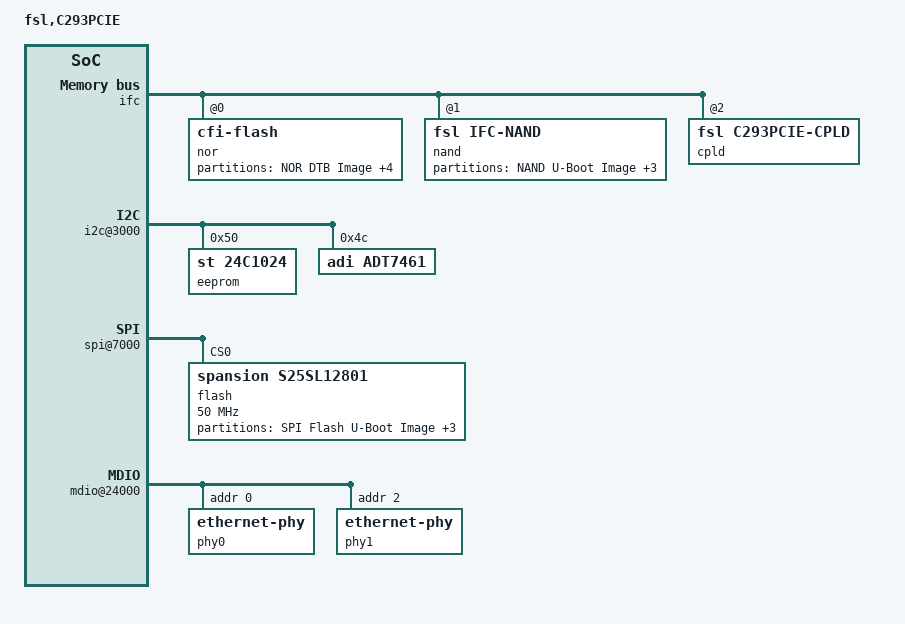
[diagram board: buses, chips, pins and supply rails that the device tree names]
/*
 * C293 PCIE Device Tree Source
 *
 * Copyright 2013 Freescale Semiconductor Inc.
 *
 * Redistribution and use in source and binary forms, with or without
 * modification, are permitted provided that the following conditions are met:
 *     * Redistributions of source code must retain the above copyright
 *       notice, this list of conditions and the following disclaimer.
 *     * Redistributions in binary form must reproduce the above copyright
 *       notice, this list of conditions and the following disclaimer in the
 *       documentation and/or other materials provided with the distribution.
 *     * Neither the name of Freescale Semiconductor nor the
 *       names of its contributors may be used to endorse or promote products
 *       derived from this software without specific prior written permission.
 *
 *
 * ALTERNATIVELY, this software may be distributed under the terms of the
 * GNU General Public License ("GPL") as published by the Free Software
 * Foundation, either version 2 of that License or (at your option) any
 * later version.
 *
 * THIS SOFTWARE IS PROVIDED BY Freescale Semiconductor "AS IS" AND ANY
 * EXPRESS OR IMPLIED WARRANTIES, INCLUDING, BUT NOT LIMITED TO, THE IMPLIED
 * WARRANTIES OF MERCHANTABILITY AND FITNESS FOR A PARTICULAR PURPOSE ARE
 * DISCLAIMED. IN NO EVENT SHALL Freescale Semiconductor BE LIABLE FOR ANY
 * DIRECT, INDIRECT, INCIDENTAL, SPECIAL, EXEMPLARY, OR CONSEQUENTIAL DAMAGES
 * (INCLUDING, BUT NOT LIMITED TO, PROCUREMENT OF SUBSTITUTE GOODS OR SERVICES;
 * LOSS OF USE, DATA, OR PROFITS; OR BUSINESS INTERRUPTION) HOWEVER CAUSED AND
 * ON ANY THEORY OF LIABILITY, WHETHER IN CONTRACT, STRICT LIABILITY, OR TORT
 * (INCLUDING NEGLIGENCE OR OTHERWISE) ARISING IN ANY WAY OUT OF THE USE OF THIS
 * SOFTWARE, EVEN IF ADVISED OF THE POSSIBILITY OF SUCH DAMAGE.
 */

/include/ "c293si-pre.dtsi"

/ {
	model = "fsl,C293PCIE";
	compatible = "fsl,C293PCIE";

	memory {
		device_type = "memory";
	};

	ifc: memory-controller@fffe1e000 {
		reg = <0xf 0xffe1e000 0 0x2000>;
		ranges = <0x0 0x0 0xf 0xec000000 0x04000000
			  0x1 0x0 0xf 0xff800000 0x00010000
			  0x2 0x0 0xf 0xffdf0000 0x00010000>;

	};

	soc: soc@fffe00000 {
		ranges = <0x0 0xf 0xffe00000 0x100000>;
	};

	pci0: pcie@fffe0a000 {
		reg = <0xf 0xffe0a000 0 0x1000>;
		ranges = <0x2000000 0x0 0x80000000 0xc 0x00000000 0x0 0x20000000
			  0x1000000 0x0 0x00000000 0xf 0xffc00000 0x0 0x10000>;
		pcie@0 {
			ranges = <0x2000000 0x0 0x80000000
				  0x2000000 0x0 0x80000000
				  0x0 0x20000000

				  0x1000000 0x0 0x0
				  0x1000000 0x0 0x0
				  0x0 0x100000>;
		};
	};
};

&ifc {
	nor@0,0 {
		#address-cells = <1>;
		#size-cells = <1>;
		compatible = "cfi-flash";
		reg = <0x0 0x0 0x4000000>;
		bank-width = <2>;
		device-width = <1>;

		partition@0 {
			/* 1MB for DTB Image */
			reg = <0x0 0x00100000>;
			label = "NOR DTB Image";
		};

		partition@100000 {
			/* 8 MB for Linux Kernel Image */
			reg = <0x00100000 0x00800000>;
			label = "NOR Linux Kernel Image";
		};

		partition@900000 {
			/* 53MB for rootfs */
			reg = <0x00900000 0x03500000>;
			label = "NOR Rootfs Image";
		};

		partition@3e00000 {
			/* 1MB for blob encrypted key */
			reg = <0x03e00000 0x00100000>;
			label = "NOR blob encrypted key";
		};

		partition@3f00000 {
			/* 512KB for u-boot Bootloader Image and evn */
			reg = <0x03f00000 0x00100000>;
			label = "NOR U-Boot Image";
			read-only;
		};
	};

	nand@1,0 {
		#address-cells = <1>;
		#size-cells = <1>;
		compatible = "fsl,ifc-nand";
		reg = <0x1 0x0 0x10000>;

		partition@0 {
			/* This location must not be altered  */
			/* 1MB for u-boot Bootloader Image */
			reg = <0x0 0x00100000>;
			label = "NAND U-Boot Image";
			read-only;
		};

		partition@100000 {
			/* 1MB for DTB Image */
			reg = <0x00100000 0x00100000>;
			label = "NAND DTB Image";
		};

		partition@200000 {
			/* 16MB for Linux Kernel Image */
			reg = <0x00200000 0x01000000>;
			label = "NAND Linux Kernel Image";
		};

		partition@1200000 {
			/* 4078MB for Root file System Image */
			reg = <0x00600000 0xfee00000>;
			label = "NAND RFS Image";
		};
	};

	cpld@2,0 {
		compatible = "fsl,c293pcie-cpld";
		reg = <0x2 0x0 0x20>;
	};
};

&soc {
	i2c@3000 {
		eeprom@50 {
			compatible = "st,24c1024", "atmel,24c1024";
			reg = <0x50>;
		};

		adt7461@4c {
			compatible = "adi,adt7461";
			reg = <0x4c>;
		};
	};

	spi@7000 {
		flash@0 {
			#address-cells = <1>;
			#size-cells = <1>;
			compatible = "spansion,s25sl12801", "jedec,spi-nor";
			reg = <0>;
			spi-max-frequency = <50000000>;

			partition@0 {
				/* 1MB for u-boot Bootloader Image */
				/* 1MB for Environment */
				reg = <0x0 0x00100000>;
				label = "SPI Flash U-Boot Image";
				read-only;
			};

			partition@100000 {
				/* 512KB for DTB Image */
				reg = <0x00100000 0x00080000>;
				label = "SPI Flash DTB Image";
			};

			partition@180000 {
				/* 4MB for Linux Kernel Image */
				reg = <0x00180000 0x00400000>;
				label = "SPI Flash Linux Kernel Image";
			};

			partition@580000 {
				/* 10.5MB for RFS Image */
				reg = <0x00580000 0x00a80000>;
				label = "SPI Flash RFS Image";
			};
		};
	};

	mdio@24000 {
		phy0: ethernet-phy@0 {
			interrupts = <2 1 0 0>;
			reg = <0x0>;
		};

		phy1: ethernet-phy@1 {
			interrupts = <2 1 0 0>;
			reg = <0x2>;
		};
	};

	enet0: ethernet@b0000 {
		phy-handle = <&phy0>;
		phy-connection-type = "rgmii-id";
	};

	enet1: ethernet@b1000 {
		phy-handle = <&phy1>;
		phy-connection-type = "rgmii-id";
	};
};
/include/ "c293si-post.dtsi"
